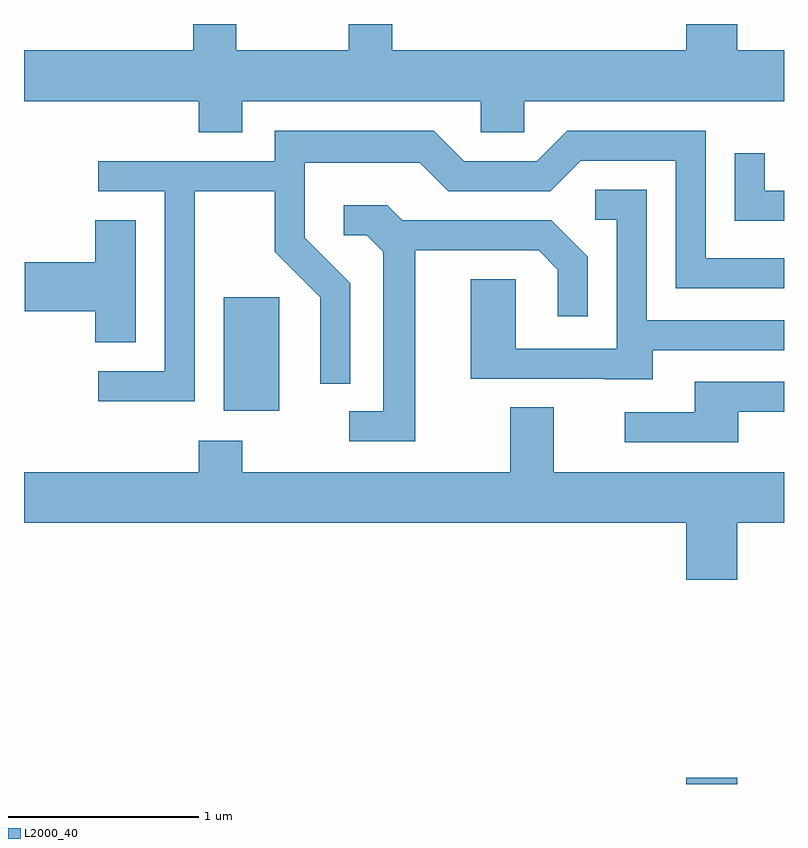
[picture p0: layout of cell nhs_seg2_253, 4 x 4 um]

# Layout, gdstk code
import gdstk
lib = gdstk.Library(unit=1e-6, precision=1e-09)
def R(c, l, rs):  # rectangles x0, y0, x1, y1
    for r in rs: c.add(gdstk.rectangle(r[:2], r[2:], *l))
def P(c, l, *ps):  # polygons
    for p in ps: c.add(gdstk.Polygon(p, *l))
L2000_40 = (2000, 40)

nhs_seg2_253 = lib.new_cell('nhs_seg2_253')
R(nhs_seg2_253, L2000_40, [(195.096,1075.802,195.364,1075.834), (192.661,1077.766,192.954,1078.364)])
P(nhs_seg2_253, L2000_40, [(192.759,1079.396),(194.016,1079.396),(194.016,1079.231),(194.244,1079.231),(194.244,1079.396),(195.611,1079.396),(195.611,1079.664),(195.364,1079.664),(195.364,1079.802),(195.096,1079.802),(195.096,1079.664),(193.549,1079.664),(193.549,1079.802),(193.321,1079.802),(193.321,1079.664),(192.729,1079.664),(192.729,1079.802),(192.501,1079.802),(192.501,1079.664),(191.611,1079.664),(191.611,1079.396),(192.531,1079.396),(192.531,1079.231),(192.759,1079.231)],
  [(192.509,1078.921),(192.931,1078.921),(192.931,1078.604),(193.171,1078.364),(193.171,1077.908),(193.329,1077.908),(193.329,1078.437),(193.089,1078.677),(193.089,1079.071),(193.694,1079.071),(193.844,1078.921),(194.382,1078.921),(194.542,1079.081),(195.041,1079.081),(195.041,1078.411),(195.611,1078.411),(195.611,1078.569),(195.199,1078.569),(195.199,1079.239),(194.469,1079.239),(194.309,1079.079),(193.927,1079.079),(193.767,1079.239),(192.931,1079.239),(192.931,1079.079),(192.003,1079.079),(192.003,1078.921),(192.351,1078.921),(192.351,1077.974),(192.003,1077.974),(192.003,1077.816),(192.509,1077.816)],
  [(195.611,1078.924),(195.509,1078.924),(195.509,1079.123),(195.351,1079.123),(195.351,1078.766),(195.611,1078.766)],
  [(194.919,1078.086),(195.611,1078.086),(195.611,1078.244),(194.889,1078.244),(194.889,1078.929),(194.618,1078.929),(194.618,1078.771),(194.731,1078.771),(194.731,1078.094),(194.199,1078.094),(194.199,1078.459),(193.961,1078.459),(193.961,1077.936),(194.665,1077.936),(194.665,1077.931),(194.919,1077.931)],
  [(193.669,1078.611),(194.319,1078.611),(194.421,1078.509),(194.421,1078.263),(194.579,1078.263),(194.579,1078.577),(194.387,1078.769),(193.602,1078.769),(193.522,1078.849),(193.293,1078.849),(193.293,1078.691),(193.414,1078.691),(193.501,1078.604),(193.501,1077.764),(193.323,1077.764),(193.323,1077.606),(193.669,1077.606)],
  [(192.199,1078.769),(191.986,1078.769),(191.986,1078.549),(191.616,1078.549),(191.616,1078.291),(191.986,1078.291),(191.986,1078.126),(192.199,1078.126)],
  [(195.369,1077.761),(195.611,1077.761),(195.611,1077.919),(195.141,1077.919),(195.141,1077.759),(194.773,1077.759),(194.773,1077.601),(195.369,1077.601)],
  [(195.364,1077.176),(195.611,1077.176),(195.611,1077.444),(194.399,1077.444),(194.399,1077.784),(194.171,1077.784),(194.171,1077.444),(192.759,1077.444),(192.759,1077.609),(192.531,1077.609),(192.531,1077.444),(191.611,1077.444),(191.611,1077.176),(195.096,1077.176),(195.096,1076.876),(195.364,1076.876)])

lib.write_gds('nhs_seg2_253.gds')
